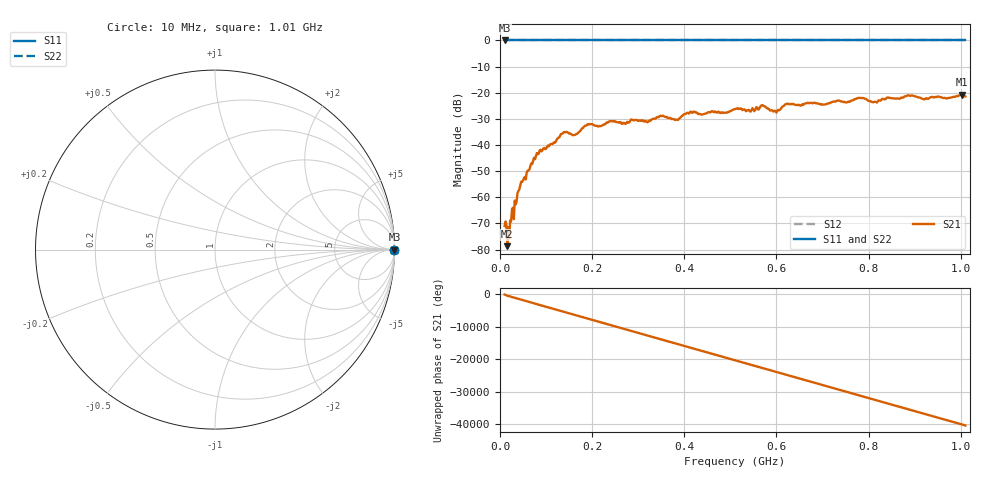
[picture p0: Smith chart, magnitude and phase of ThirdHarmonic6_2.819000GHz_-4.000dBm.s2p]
! 8/17/2025 7:26:51 AM
! C:\ANRITSUVNA\TEMP\TEMP.S2P
! CHANNEL.1
! TR.MEASUREMENT
! RAW.DATA
! RF.CORRECTION.OFF
! AVERAGING.OFF
! IF.BANDWIDTH: 5KHZ
! SWEEPTYPE:  FREQ.SWEEP(Linear)
! Reference Plane Port Info
! PORT:  PORT1  PORT2
! DISTANCE:  0  m  0  m
! TIME:  0  s  0  s
! PHASE.OFFSET:  0  deg.  0  deg.
! LOSS:  0  dB  0  dB
! REF.LOSS:  0  dB  0  dB
! REF.FREQ:  0  Hz  0  Hz
! Power Info
! POWER:  -20  dBm  -20  dBm
! EFF.POWER:  -20  dBm  -20  dBm
! SOURCE.ATTEN:  0  dB  0  dB
! TEST.ATTEN:  0  dB  0  dB
# GHZ S RI R 50.0
! FREQ.GHZ  S11RE  S11IM  S21RE  S21IM  S12RE  S12IM  S22RE  S22IM
!; PortSelection: Port_12
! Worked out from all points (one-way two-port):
!   501 points, 10 MHz to 1.01 GHz, reference 50 ohm
!   highest |S21| = -20.80 dB at 1.002 GHz (marker M1); lowest = -78.7 dB at 16 MHz (marker M2)
!   lowest |S11| = 0.0 dB at 10 MHz (marker M3)
!   |S11| at or under -10 dB: nowhere
!   |S22| runs from 0.0 to 0.0 dB; largest |S21 - S12| = 1.1
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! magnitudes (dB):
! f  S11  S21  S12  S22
! 10 MHz  0.0  -71.0  0.0  0.0
! 16 MHz  0.0  -78.7  0.0  0.0
! 20 MHz  0.0  -75.7  0.0  0.0
! 28 MHz  0.0  -64.0  0.0  0.0
! 42 MHz  0.0  -56.9  0.0  0.0
! 76 MHz  0.0  -45.4  0.0  0.0
! 136 MHz  0.0  -35.6  0.0  0.0
! 162 MHz  0.0  -36.2  0.0  0.0
! 178 MHz  0.0  -33.7  0.0  0.0
! 194 MHz  0.0  -32.0  0.0  0.0
! 322 MHz  0.0  -31.0  0.0  0.0
! 344 MHz  0.0  -29.4  0.0  0.0
! 384 MHz  0.0  -30.3  0.0  0.0
! 410 MHz  0.0  -28.0  0.0  0.0
! 510 MHz  0.0  -26.2  0.0  0.0
! 570 MHz  0.0  -24.8  0.0  0.0
! 596 MHz  0.0  -26.9  0.0  0.0
! 622 MHz  0.0  -24.3  0.0  0.0
! 678 MHz  0.0  -24.0  0.0  0.0
! 844 MHz  0.0  -21.9  0.0  0.0
! 1.002 GHz  0.0  -20.8  0.0  0.0
! 1.01 GHz  0.0  -21.4  0.0  0.0
